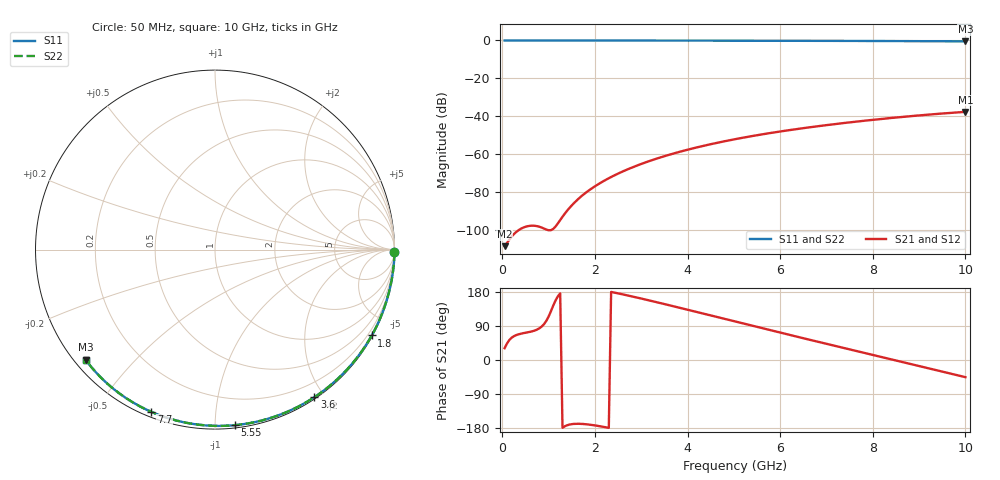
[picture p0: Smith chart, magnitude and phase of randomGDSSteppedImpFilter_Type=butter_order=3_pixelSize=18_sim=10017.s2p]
! freq	dB(S11)	phase(S11)	dB(S12)	phase(S12)
!  dB(S21)	phase(S21)	dB(S22)	phase(S22)
!S-par simulation data
#  GHz  S  DB  R 50
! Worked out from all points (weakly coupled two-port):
!   200 points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, 50 MHz to 10 GHz, reference 50 ohm
!   highest |S21| = -37.74 dB at 10 GHz (marker M1); lowest = -108.7 dB at 50 MHz (marker M2)
!   lowest |S11| = -0.5 dB at 10 GHz (marker M3), VSWR 36.62, Z = 1.55 - j18.4 ohm
!   |S11| at or under -10 dB: nowhere
!   |S22| runs from -0.5 to 0.0 dB; largest |S21 - S12| = 0
!   S11 on the Smith chart (normalised r, x): 50 MHz: open; 1.8 GHz: 0.03, -3.91; 3.6 GHz: 0.02, -1.88; 5.55 GHz: 0.02, -1.12; 7.7 GHz: 0.02, -0.68; 10 GHz: 0.03, -0.37
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0.05  -0.00 -0.8  -108.75 31.2  -108.75 31.2  -0.00 -0.8
0.45  -0.01 -7.3  -98.96 70.7  -98.96 70.7  -0.01 -7.3
0.9  -0.02 -14.5  -99.43 94.5  -99.43 94.5  -0.02 -14.5
1.75  -0.04 -27.9  -81.51 -168.9  -81.51 -168.9  -0.04 -27.9
1.8  -0.04 -28.7  -80.54 -169.4  -80.54 -169.4  -0.04 -28.7
1.85  -0.04 -29.5  -79.63 -170.1  -79.63 -170.1  -0.04 -29.5
2.05  -0.04 -32.6  -76.32 -173.6  -76.32 -173.6  -0.04 -32.6
2.25  -0.05 -35.7  -73.47 -177.9  -73.47 -177.9  -0.05 -35.7
2.55  -0.05 -40.3  -69.81 174.6  -69.81 174.6  -0.05 -40.3
2.95  -0.06 -46.4  -65.74 163.6  -65.74 163.6  -0.06 -46.4
3.4  -0.07 -53.1  -61.94 150.6  -61.94 150.6  -0.07 -53.1
3.6  -0.08 -56.1  -60.45 144.7  -60.45 144.7  -0.08 -56.1
3.9  -0.08 -60.4  -58.40 135.7  -58.40 135.7  -0.08 -60.4
4.3  -0.09 -66.2  -55.96 123.7  -55.96 123.7  -0.09 -66.2
5.05  -0.12 -76.7  -52.08 100.9  -52.08 100.9  -0.12 -76.7
5.55  -0.14 -83.6  -49.89 85.8  -49.89 85.8  -0.14 -83.6
6.1  -0.16 -90.9  -47.75 69.3  -47.75 69.3  -0.16 -90.9
6.7  -0.19 -98.8  -45.70 51.5  -45.70 51.5  -0.19 -98.8
7.7  -0.25 -111.5  -42.76 22.2  -42.76 22.2  -0.25 -111.5
8.35  -0.31 -119.5  -41.10 3.2  -41.10 3.2  -0.31 -119.5
9.2  -0.38 -129.9  -39.21 -21.7  -39.21 -21.7  -0.38 -129.9
10  -0.47 -139.6  -37.74 -45.3  -37.74 -45.3  -0.47 -139.6
